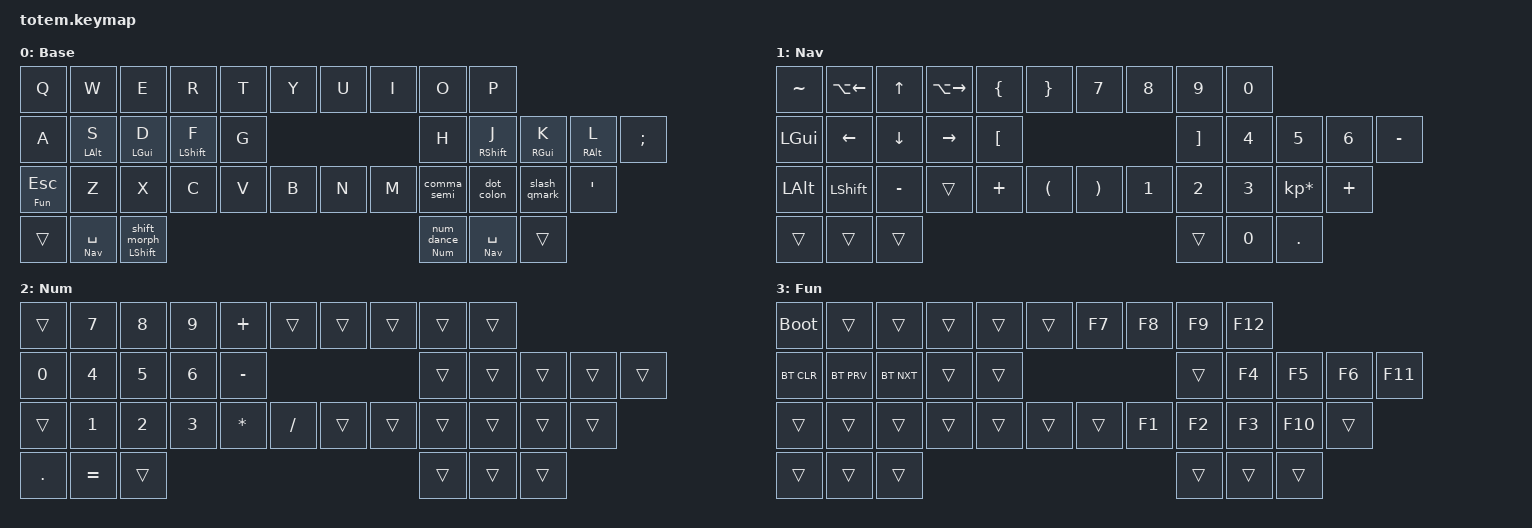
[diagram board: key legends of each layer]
#include <behaviors.dtsi>
#include <dt-bindings/zmk/keys.h>
#include <dt-bindings/zmk/bt.h>

#define Base 0
#define Nav  1
#define Num  2
#define Fun  3

/ {
    behaviors {
        hml: homerow_mods_left {
            compatible = "zmk,behavior-hold-tap";
            label = "HOMEROW_MODS_LEFT";
            #binding-cells = <2>;
            flavor = "balanced";
            tapping-term-ms = <280>;
            quick-tap-ms = <175>;
            require-prior-idle-ms = <150>;
            bindings = <&kp>, <&kp>;
            hold-trigger-key-positions = <5 6 7 8 9 15 16 17 18 19 26 27 28 29 30 31 35 36 37>;
            hold-trigger-on-release;
        };

        hmr: homerow_mods_right {
            compatible = "zmk,behavior-hold-tap";
            label = "HOMEROW_MODS_RIGHT";
            #binding-cells = <2>;
            flavor = "balanced";
            tapping-term-ms = <280>;
            quick-tap-ms = <175>;
            require-prior-idle-ms = <150>;
            bindings = <&kp>, <&kp>;
            hold-trigger-key-positions = <0 1 2 3 4 10 11 12 13 14 20 21 22 23 24 25 32 33 34>;
            hold-trigger-on-release;
        };

        comma_semi: comma_semicolon {
            compatible = "zmk,behavior-mod-morph";
            label = "COMMA_SEMICOLON";
            #binding-cells = <0>;
            bindings = <&kp COMMA>, <&kp SEMI>;
            mods = <(MOD_LSFT|MOD_RSFT)>;
        };
        
        dot_colon: dot_colon {
            compatible = "zmk,behavior-mod-morph";
            label = "DOT_COLON";
            #binding-cells = <0>;
            bindings = <&kp DOT>, <&kp COLON>;
            mods = <(MOD_LSFT|MOD_RSFT)>;
        };
        
        slash_qmark: slash_question {
            compatible = "zmk,behavior-mod-morph";
            label = "SLASH_QUESTION";
            #binding-cells = <0>;
            bindings = <&kp SLASH>, <&morph_qmark_excl>;
            mods = <(MOD_LSFT|MOD_RSFT)>;
        };
        
        morph_qmark_excl: question_exclamation {
            compatible = "zmk,behavior-mod-morph";
            label = "QMARK_EXCL";
            #binding-cells = <0>;
            bindings = <&kp QMARK>, <&kp EXCL>;
            mods = <(MOD_LSFT|MOD_RSFT)>;
        };

        magic_shift: magic_shift {
            compatible = "zmk,behavior-hold-tap";
            label = "MAGIC_SHIFT";
            #binding-cells = <2>;
            flavor = "balanced";
            tapping-term-ms = <200>;
            bindings = <&kp>, <&shift_morph>;
        };
        
        shift_morph: shift_morph {
            compatible = "zmk,behavior-mod-morph";
            label = "SHIFT_MORPH";
            #binding-cells = <0>;
            bindings = <&sk LSHIFT>, <&caps_word>;
            mods = <(MOD_LSFT)>;
        };

        smart_num: smart_num_layer {
            compatible = "zmk,behavior-hold-tap";
            label = "SMART_NUM";
            #binding-cells = <2>;
            flavor = "balanced";
            tapping-term-ms = <200>;
            bindings = <&mo>, <&num_dance>;
        };
        
        num_dance: num_dance {
            compatible = "zmk,behavior-tap-dance";
            label = "NUM_DANCE";
            #binding-cells = <0>;
            tapping-term-ms = <200>;
            bindings = <&num_word>, <&none>;
        };
        
        num_word: num_word {
            compatible = "zmk,behavior-caps-word";
            label = "NUM_WORD";
            #binding-cells = <0>;
            continue-list = <BACKSPACE DELETE DOT COMMA PLUS MINUS STAR FSLH EQUAL N0 N1 N2 N3 N4 N5 N6 N7 N8 N9 KP_N0 KP_N1 KP_N2 KP_N3 KP_N4 KP_N5 KP_N6 KP_N7 KP_N8 KP_N9>;
        };
    };

    combos {
        compatible = "zmk,combos";
        combo_excl { timeout-ms = <30>; require-prior-idle-ms = <150>; key-positions = <0 10>; bindings = <&kp EXCL>; layers = <Base>; };
        combo_at { timeout-ms = <30>; require-prior-idle-ms = <150>; key-positions = <1 11>; bindings = <&kp AT>; layers = <Base>; };
        combo_hash { timeout-ms = <30>; require-prior-idle-ms = <150>; key-positions = <2 12>; bindings = <&kp HASH>; layers = <Base>; };
        combo_dollar { timeout-ms = <30>; require-prior-idle-ms = <150>; key-positions = <3 13>; bindings = <&kp DLLR>; layers = <Base>; };
        combo_percent { timeout-ms = <30>; require-prior-idle-ms = <150>; key-positions = <4 14>; bindings = <&kp PRCNT>; layers = <Base>; };
        combo_caret { timeout-ms = <30>; require-prior-idle-ms = <150>; key-positions = <5 15>; bindings = <&kp CARET>; layers = <Base>; };
        combo_ampersand { timeout-ms = <30>; require-prior-idle-ms = <150>; key-positions = <6 16>; bindings = <&kp AMPS>; layers = <Base>; };
        combo_star { timeout-ms = <30>; require-prior-idle-ms = <150>; key-positions = <7 17>; bindings = <&kp STAR>; layers = <Base>; };
        combo_lpar { timeout-ms = <30>; require-prior-idle-ms = <150>; key-positions = <8 18>; bindings = <&kp LPAR>; layers = <Base>; };
        combo_rpar { timeout-ms = <30>; require-prior-idle-ms = <150>; key-positions = <9 19>; bindings = <&kp RPAR>; layers = <Base>; };
        combo_grave { timeout-ms = <30>; require-prior-idle-ms = <150>; key-positions = <10 21>; bindings = <&kp GRAVE>; layers = <Base>; };
        combo_minus { timeout-ms = <30>; require-prior-idle-ms = <150>; key-positions = <11 22>; bindings = <&kp MINUS>; layers = <Base>; };
        combo_equal { timeout-ms = <30>; require-prior-idle-ms = <150>; key-positions = <12 23>; bindings = <&kp EQUAL>; layers = <Base>; };
        combo_lbkt { timeout-ms = <30>; require-prior-idle-ms = <150>; key-positions = <13 24>; bindings = <&kp LBKT>; layers = <Base>; };
        combo_rbkt { timeout-ms = <30>; require-prior-idle-ms = <150>; key-positions = <14 25>; bindings = <&kp RBKT>; layers = <Base>; };
        combo_bslh { timeout-ms = <30>; require-prior-idle-ms = <150>; key-positions = <15 26>; bindings = <&kp BSLH>; layers = <Base>; };
        combo_pipe { timeout-ms = <30>; require-prior-idle-ms = <150>; key-positions = <16 27>; bindings = <&kp PIPE>; layers = <Base>; };
        combo_under { timeout-ms = <30>; require-prior-idle-ms = <150>; key-positions = <17 28>; bindings = <&kp UNDER>; layers = <Base>; };
        combo_plus { timeout-ms = <30>; require-prior-idle-ms = <150>; key-positions = <18 29>; bindings = <&kp PLUS>; layers = <Base>; };
        combo_lbrc { timeout-ms = <30>; require-prior-idle-ms = <150>; key-positions = <3 4>; bindings = <&kp LBRC>; layers = <Base>; };
        combo_rbrc { timeout-ms = <30>; require-prior-idle-ms = <150>; key-positions = <5 6>; bindings = <&kp RBRC>; layers = <Base>; };
        combo_esc { timeout-ms = <30>; require-prior-idle-ms = <150>; key-positions = <0 1>; bindings = <&kp ESC>; layers = <Base>; };
        combo_tab { timeout-ms = <30>; require-prior-idle-ms = <150>; key-positions = <10 11>; bindings = <&kp TAB>; layers = <Base>; };
        combo_backspace { timeout-ms = <30>; require-prior-idle-ms = <150>; key-positions = <7 8>; bindings = <&kp BSPC>; layers = <Base>; };
        combo_enter { timeout-ms = <30>; require-prior-idle-ms = <150>; key-positions = <16 17 18>; bindings = <&kp RET>; layers = <Base>; };
        combo_backtick { timeout-ms = <30>; require-prior-idle-ms = <150>; key-positions = <12 13>; bindings = <&kp GRAVE>; layers = <Base>; };
        combo_caret_top { timeout-ms = <30>; require-prior-idle-ms = <150>; key-positions = <0 1>; bindings = <&kp CARET>; layers = <Base>; };
        combo_undo { timeout-ms = <30>; require-prior-idle-ms = <150>; key-positions = <21 22>; bindings = <&kp LG(Z)>; layers = <Base>; };
        combo_copy { timeout-ms = <30>; require-prior-idle-ms = <150>; key-positions = <22 23>; bindings = <&kp LG(C)>; layers = <Base>; };
        combo_paste { timeout-ms = <30>; require-prior-idle-ms = <150>; key-positions = <23 24>; bindings = <&kp LG(V)>; layers = <Base>; };
        combo_move { timeout-ms = <30>; require-prior-idle-ms = <150>; key-positions = <24 25>; bindings = <&kp LG(LA(V))>; layers = <Base>; };
    };

   keymap {
        compatible = "zmk,keymap";
        base_layer {
            display-name = "Base";
            bindings = <
&kp Q &kp W &kp E &kp R &kp T &kp Y &kp U &kp I &kp O &kp P
&kp A &hml LALT S &hml LGUI D &hml LSHIFT F &kp G &kp H &hmr RSHIFT J &hmr RGUI K &hmr RALT L &kp SEMI
&lt Fun ESC &kp Z &kp X &kp C &kp V &kp B &kp N &kp M &comma_semi &dot_colon &slash_qmark &kp APOSTROPHE
&trans &lt Nav SPACE &magic_shift LSHIFT 0 &smart_num Num 0 &lt Nav SPACE &trans
            >;
        };
        nav_layer {
            display-name = "Nav";
            bindings = <
&kp TILDE &kp LA(LEFT) &kp UP &kp LA(RIGHT) &kp LBRC &kp RBRC &kp N7 &kp N8 &kp N9 &kp N0
&kp LGUI &kp LEFT &kp DOWN &kp RIGHT &kp LBKT &kp RBKT &kp N4 &kp N5 &kp N6 &kp MINUS
&kp LALT &kp LSHIFT &kp MINUS &trans &kp PLUS &kp LPAR &kp RPAR &kp N1 &kp N2 &kp N3 &kp KP_MULTIPLY &kp PLUS
&trans &trans &trans &trans &kp N0 &kp DOT
            >;
        };
        num_layer {
            display-name = "Num";
            bindings = <
&trans &kp N7 &kp N8 &kp N9 &kp PLUS &trans &trans &trans &trans &trans
&kp N0 &kp N4 &kp N5 &kp N6 &kp MINUS &trans &trans &trans &trans &trans
&trans &kp N1 &kp N2 &kp N3 &kp STAR &kp FSLH &trans &trans &trans &trans &trans &trans
&kp DOT &kp EQUAL &trans &trans &trans &trans
            >;
        };
        fun_layer {
            display-name = "Fun";
            bindings = <
&bootloader &trans &trans &trans &trans &trans &kp F7 &kp F8 &kp F9 &kp F12
&bt BT_CLR &bt BT_PRV &bt BT_NXT &trans &trans &trans &kp F4 &kp F5 &kp F6 &kp F11
&trans &trans &trans &trans &trans &trans &trans &kp F1 &kp F2 &kp F3 &kp F10 &trans
&trans &trans &trans &trans &trans &trans
            >;
        };
    };
};
